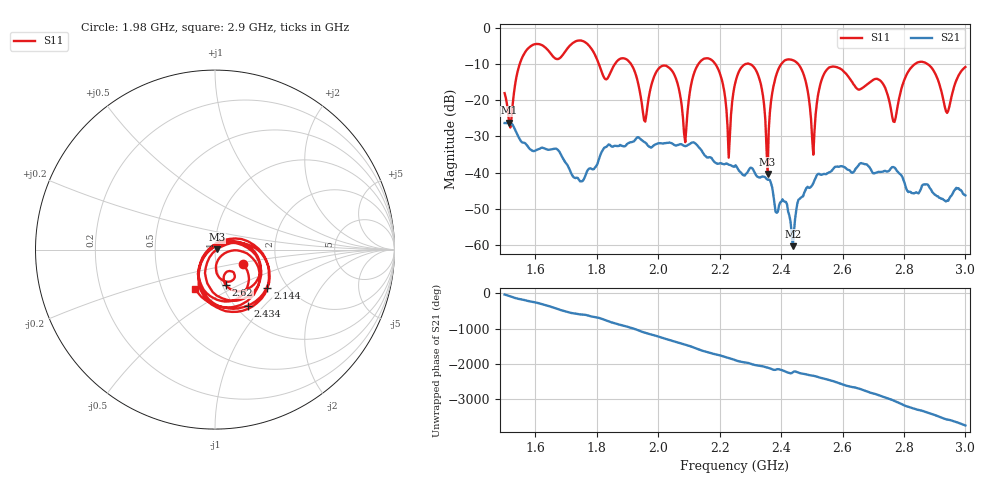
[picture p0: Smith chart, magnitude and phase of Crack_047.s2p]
# HZ S RI R 50
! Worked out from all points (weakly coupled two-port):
!   404 points, 1.5 GHz to 3 GHz, reference 50 ohm
!   highest |S21| = -26.24 dB at 1.515 GHz (marker M1); lowest = -60.3 dB at 2.438 GHz (marker M2)
!   lowest |S11| = -40.3 dB at 2.356 GHz (marker M3), VSWR 1.02, Z = 51 + j0.0996 ohm
!   |S11| at or under -10 dB: 1.911 GHz to 2.131 GHz (219.7 MHz wide, 10.9 % of centre); 2.456 GHz to 2.836 GHz (380.4 MHz wide, 14.4 % of centre); 2.876 GHz to end of sweep (the widest 3 of 7)
!   S12 and S22 are empty: the file has one direction only
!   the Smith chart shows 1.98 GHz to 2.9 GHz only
!   S11 on the Smith chart (normalised r, x): 1.98 GHz: 1.35, -0.23; 2.144 GHz: 1.58, -0.79; 2.434 GHz: 1.14, -0.82; 2.62 GHz: 1.04, -0.43; 2.9 GHz: 0.74, -0.34
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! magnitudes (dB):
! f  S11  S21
! 1.5 GHz  -18.1  -26.3
! 1.515 GHz  -26.3  -26.2
! 1.578 GHz  -5.6  -33.1
! 1.753 GHz  -3.6  -42.4
! 1.954 GHz  -25.5  -31.5
! 1.98 GHz  -15.1  -32.9
! 2.002 GHz  -11.2  -31.9
! 2.088 GHz  -31.6  -32.7
! 2.144 GHz  -8.8  -34.3
! 2.23 GHz  -35.9  -37.8
! 2.252 GHz  -14.8  -38.0
! 2.315 GHz  -11.3  -40.1
! 2.356 GHz  -40.3  -41.9
! 2.434 GHz  -8.8  -56.3
! 2.438 GHz  -8.9  -60.3
! 2.501 GHz  -30.7  -43.5
! 2.546 GHz  -11.9  -40.4
! 2.62 GHz  -13.7  -39.3
! 2.751 GHz  -19.7  -39.6
! 2.9 GHz  -12.3  -46.0
! 2.94 GHz  -23.5  -47.7
! 3 GHz  -10.8  -46.3
